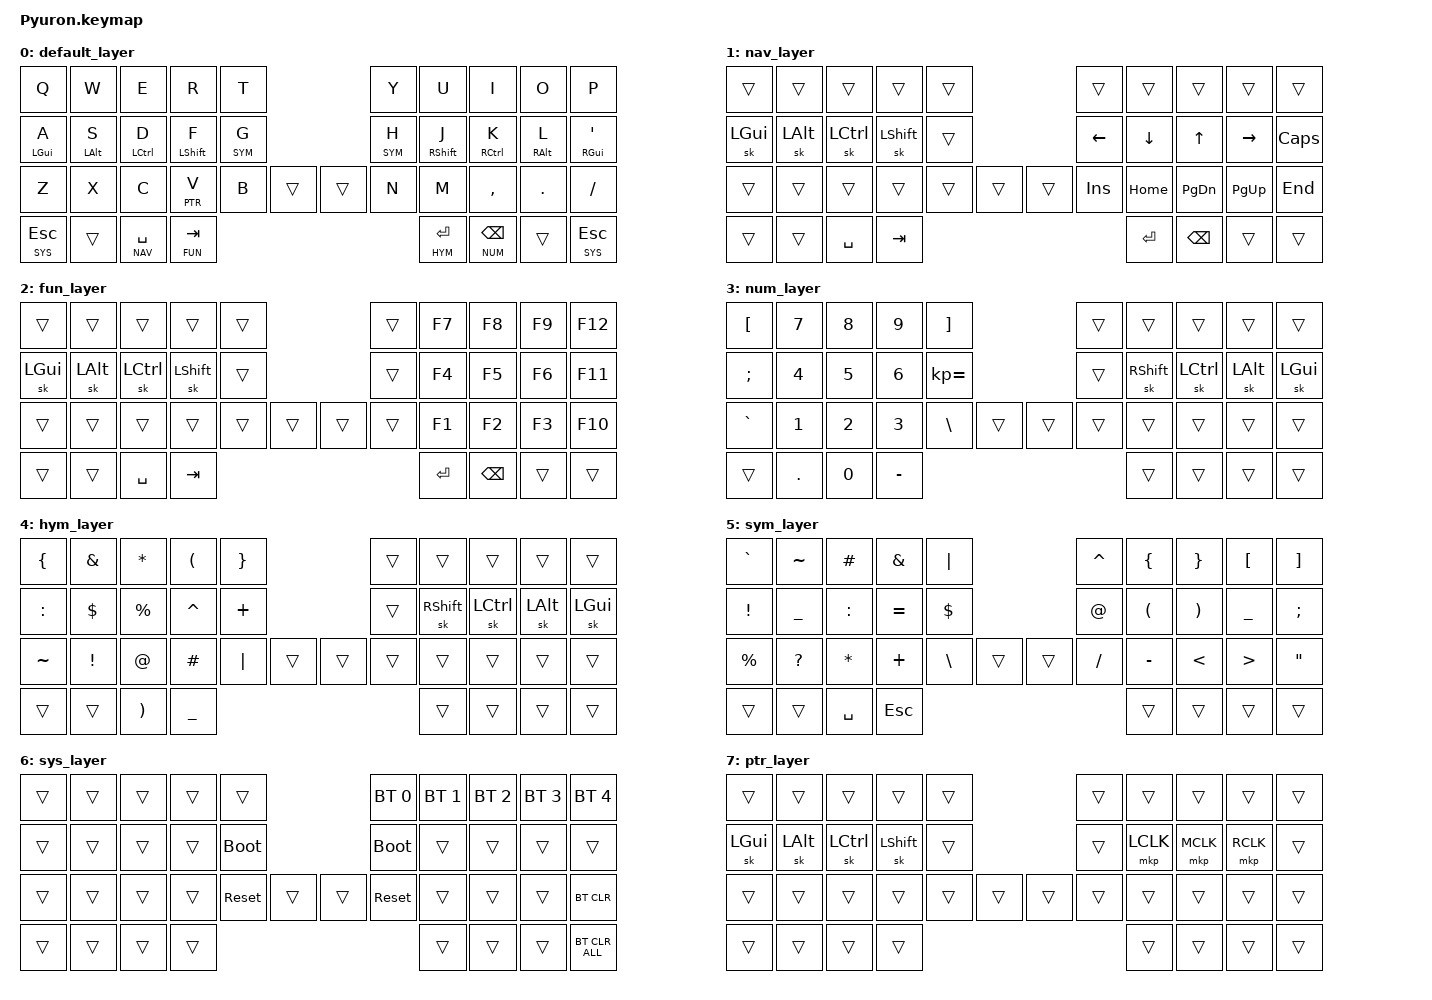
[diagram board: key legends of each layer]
#include <behaviors.dtsi>
#include <dt-bindings/zmk/bt.h>
#include <dt-bindings/zmk/keys.h>
#include <dt-bindings/zmk/pointing.h>

#include "zmk-helpers/helper.h"

#define DEF 0
#define NAV 1
#define FUN 2
#define NUM 3
#define HYM 4
#define SYM 5
#define SYS 6
#define PTR 7

#define XXX &none
#define ___ &trans


/*                                                 PYURON

  ╭────────────────────────┬────────────────────────╮ ╭─────────────────────────┬─────────────────────────╮
  │  0   1   2   3   4     │      5   6   7   8   9 │ │ LT4 LT3 LT2 LT1 LT0     │     RT0 RT1 RT2 RT3 RT4 │
  │ 10  11  12  13  14     │     15  16  17  18  19 │ │ LM4 LM3 LM2 LM1 LM0     │     RM0 RM1 RM2 RM3 RM4 │
  │ 20  21  22  23  24  25 │ 26  27  28  29  30  31 │ │ LB5 LB4 LB3 LB2 LB1 LB0 │ RB0 RB1 RB2 RB3 RB4 RB5 │
  │ 32  33          34  35 │ 36  37          38  39 │ │ LH3 LH2         LH1 LH0 │ RH0 RH1         RH2 RH3 │
  ╰────────────────────────┴────────────────────────╯ ╰─────────────────────────┴─────────────────────────╯ */

#pragma once

#define LT0  4  // left-top row
#define LT1  3
#define LT2  2
#define LT3  1
#define LT4  0

#define RT0  5  // right-top row
#define RT1  6
#define RT2  7
#define RT3  8
#define RT4  9

#define LM0 14  // left-middle row
#define LM1 13
#define LM2 12
#define LM3 11
#define LM4 10

#define RM0 15  // right-middle row
#define RM1 16
#define RM2 17
#define RM3 18
#define RM4 19

#define LB0 25  // left-bottom row
#define LB1 24
#define LB2 23
#define LB3 22
#define LB4 21
#define LB5 20

#define RB0 26  // right-bottom row
#define RB1 27
#define RB2 28
#define RB3 29
#define RB4 30
#define RB5 31

#define LH0 35  // left thumb keys
#define LH1 34
#define LH2 33
#define LH3 32

#define RH0 36  // right thumb keys
#define RH1 37
#define RH2 38
#define RH3 39

#define KEYS_L LT0 LT1 LT2 LT3 LT4 LM0 LM1 LM2 LM3 LM4 LB0 LB1 LB2 LB3 LB4 LB5 // left hand
#define KEYS_R RT0 RT1 RT2 RT3 RT4 RM0 RM1 RM2 RM3 RM4 RB0 RB1 RB2 RB3 RB4 RB5 // right hand
#define THUMBS LH3 LH2 LH1 LH0 RH0 RH1 RH2 RH3                                 // thumbs

/* Timeless homerow mods */

/* Left-hand HRMs. */
ZMK_HOLD_TAP(hml,
    flavor = "balanced";
    tapping-term-ms = <280>;
    quick-tap-ms = <175>;
    require-prior-idle-ms = <100>;
    bindings = <&kp>, <&kp>;
    hold-trigger-key-positions = <KEYS_R THUMBS>;
    hold-trigger-on-release;
)

/* Right-hand HRMs. */
ZMK_HOLD_TAP(hmr,
    flavor = "balanced";
    tapping-term-ms = <280>;
    quick-tap-ms = <175>;
    require-prior-idle-ms = <100>;
    bindings = <&kp>, <&kp>;
    hold-trigger-key-positions = <KEYS_L THUMBS>;
    hold-trigger-on-release;
)

/* Custom behaviors */

// combos
ZMK_COMBO(word_del,  &kp LC(BSPC),  RT2 RT3, DEF)
ZMK_COMBO(caps_wrd,  &caps_word  ,  LT2 RT2, DEF)
ZMK_COMBO(esc_we  ,  &kp ESC     ,  LT3 LT2, DEF)


/* Keymap */

ZMK_LAYER(default_layer,
//╭─────────────┬─────────────┬─────────────┬─────────────┬─────────────╮                                    ╭─────────────┬─────────────┬─────────────┬─────────────┬─────────────╮
    &kp Q         &kp W         &kp E         &kp R         &kp T                                              &kp Y         &kp U         &kp I         &kp O         &kp P
//├─────────────┼─────────────┼─────────────┼─────────────┼─────────────╮                                    ├─────────────┼─────────────┼─────────────┼─────────────┼─────────────┤
    &hml LGUI A   &hml LALT S   &hml LCTRL D  &hml LSHFT F  &lt SYM G                                          &lt SYM H     &hmr RSHFT J  &hmr RCTRL K  &hmr RALT L   &hmr RGUI SQT
//├─────────────┼─────────────┼─────────────┼─────────────┼─────────────┼─────────────╮        ╭─────────────┬─────────────┼─────────────┼─────────────┼─────────────┼─────────────┤
    &kp Z         &kp X         &kp C         &lt PTR V     &kp B         ___                    ___           &kp N         &kp M         &kp COMMA     &kp DOT       &kp SLASH
//╰─────────────┼─────────────┴─────────────┴─────────────┼─────────────┼─────────────┤        ├─────────────┼─────────────┼─────────────┴─────────────┴─────────────┼─────────────┤
    &lt SYS ESC   ___                                       &lt NAV SPACE &lt FUN TAB           &lt HYM ENTER  &lt NUM BSPC                              ___           &lt SYS ESC
//╰─────────────┴─────────────╯                           ╰─────────────┴─────────────╯        ╰─────────────┴─────────────╯                           ╰─────────────┴─────────────╯
)


ZMK_LAYER(nav_layer,
//╭─────────────┬─────────────┬─────────────┬─────────────┬─────────────╮                                    ╭─────────────┬─────────────┬─────────────┬─────────────┬─────────────╮
    ___           ___           ___           ___           ___                                                ___           ___           ___           ___           ___
//├─────────────┼─────────────┼─────────────┼─────────────┼─────────────╮                                    ├─────────────┼─────────────┼─────────────┼─────────────┼─────────────┤
    &sk LGUI      &sk LALT      &sk LCTRL     &sk LSHFT     ___                                                &kp LEFT      &kp DOWN      &kp UP        &kp RIGHT     &kp CLCK
//├─────────────┼─────────────┼─────────────┼─────────────┼─────────────┼─────────────╮        ╭─────────────┬─────────────┼─────────────┼─────────────┼─────────────┼─────────────┤
    ___           ___           ___           ___           ___           ___                    ___           &kp INS       &kp HOME      &kp PG_DN     &kp PG_UP     &kp END
//╰─────────────┼─────────────┴─────────────┴─────────────┼─────────────┼─────────────┤        ├─────────────┼─────────────┼─────────────┴─────────────┴─────────────┼─────────────┤
    ___           ___                                       &kp SPACE     &kp TAB                &kp ENTER     &kp BSPC                                  ___           ___
//╰─────────────┴─────────────╯                           ╰─────────────┴─────────────╯        ╰─────────────┴─────────────╯                           ╰─────────────┴─────────────╯
)

ZMK_LAYER(fun_layer,
//╭─────────────┬─────────────┬─────────────┬─────────────┬─────────────╮                                    ╭─────────────┬─────────────┬─────────────┬─────────────┬─────────────╮
    ___           ___           ___           ___           ___                                                ___           &kp F7        &kp F8        &kp F9        &kp F12
//├─────────────┼─────────────┼─────────────┼─────────────┼─────────────╮                                    ├─────────────┼─────────────┼─────────────┼─────────────┼─────────────┤
    &sk LGUI      &sk LALT      &sk LCTRL     &sk LSHFT     ___                                                ___           &kp F4        &kp F5        &kp F6        &kp F11
//├─────────────┼─────────────┼─────────────┼─────────────┼─────────────┼─────────────╮        ╭─────────────┬─────────────┼─────────────┼─────────────┼─────────────┼─────────────┤
    ___           ___           ___           ___           ___           ___                    ___           ___           &kp F1        &kp F2        &kp F3        &kp F10
//╰─────────────┼─────────────┴─────────────┴─────────────┼─────────────┼─────────────┤        ├─────────────┼─────────────┼─────────────┴─────────────┴─────────────┼─────────────┤
    ___           ___                                       &kp SPACE     &kp TAB                &kp ENTER     &kp BSPC                                  ___           ___
//╰─────────────┴─────────────╯                           ╰─────────────┴─────────────╯        ╰─────────────┴─────────────╯                           ╰─────────────┴─────────────╯
)


ZMK_LAYER(num_layer,
//╭─────────────┬─────────────┬─────────────┬─────────────┬─────────────╮                                    ╭─────────────┬─────────────┬─────────────┬─────────────┬─────────────╮
    &kp LBKT      &kp N7        &kp N8        &kp N9        &kp RBKT                                           ___           ___           ___           ___           ___
//├─────────────┼─────────────┼─────────────┼─────────────┼─────────────╮                                    ├─────────────┼─────────────┼─────────────┼─────────────┼─────────────┤
    &kp SEMI      &kp N4        &kp N5        &kp N6        &kp KP_EQUAL                                       ___           &sk RSHFT     &sk LCTRL     &sk LALT      &sk LGUI
//├─────────────┼─────────────┼─────────────┼─────────────┼─────────────┼─────────────╮        ╭─────────────┬─────────────┼─────────────┼─────────────┼─────────────┼─────────────┤
    &kp GRAVE     &kp N1        &kp N2        &kp N3        &kp BSLH      ___                    ___           ___           ___           ___           ___           ___
//╰─────────────┼─────────────┴─────────────┴─────────────┼─────────────┼─────────────┤        ├─────────────┼─────────────┼─────────────┴─────────────┴─────────────┼─────────────┤
    ___           &kp DOT                                   &kp N0        &kp MINUS              ___           ___                                       ___           ___
//╰─────────────┴─────────────╯                           ╰─────────────┴─────────────╯        ╰─────────────┴─────────────╯                           ╰─────────────┴─────────────╯
)


ZMK_LAYER(hym_layer,
//╭─────────────┬─────────────┬─────────────┬─────────────┬─────────────╮                                    ╭─────────────┬─────────────┬─────────────┬─────────────┬─────────────╮
    &kp LBRC      &kp AMPS      &kp ASTRK     &kp LPAR      &kp RBRC                                           ___           ___           ___           ___           ___
//├─────────────┼─────────────┼─────────────┼─────────────┼─────────────╮                                    ├─────────────┼─────────────┼─────────────┼─────────────┼─────────────┤
    &kp COLON     &kp DLLR      &kp PRCNT     &kp CARET     &kp PLUS                                           ___           &sk RSHFT     &sk LCTRL     &sk LALT      &sk LGUI
//├─────────────┼─────────────┼─────────────┼─────────────┼─────────────┼─────────────╮        ╭─────────────┬─────────────┼─────────────┼─────────────┼─────────────┼─────────────┤
    &kp TILDE     &kp EXCL      &kp AT        &kp HASH      &kp PIPE      ___                    ___           ___           ___           ___           ___           ___
//╰─────────────┼─────────────┴─────────────┴─────────────┼─────────────┼─────────────┤        ├─────────────┼─────────────┼─────────────┴─────────────┴─────────────┼─────────────┤
    ___           ___                                       &kp RPAR      &kp UNDER              ___           ___                                       ___           ___
//╰─────────────┴─────────────╯                           ╰─────────────┴─────────────╯        ╰─────────────┴─────────────╯                           ╰─────────────┴─────────────╯
)


ZMK_LAYER(sym_layer,
//╭─────────────┬─────────────┬─────────────┬─────────────┬─────────────╮                                    ╭─────────────┬─────────────┬─────────────┬─────────────┬─────────────╮
    &kp GRAVE     &kp TILDE     &kp HASH      &kp AMPS      &kp PIPE                                           &kp CARET     &kp LBRC      &kp RBRC      &kp LBKT      &kp RBKT
//├─────────────┼─────────────┼─────────────┼─────────────┼─────────────╮                                    ├─────────────┼─────────────┼─────────────┼─────────────┼─────────────┤
    &kp EXCL      &kp UNDER     &kp COLON     &kp EQUAL     &kp DLLR                                           &kp AT        &kp LPAR      &kp RPAR      &kp UNDER     &kp SEMI
//├─────────────┼─────────────┼─────────────┼─────────────┼─────────────┼─────────────╮        ╭─────────────┬─────────────┼─────────────┼─────────────┼─────────────┼─────────────┤
    &kp PRCNT     &kp QMARK     &kp ASTRK     &kp PLUS      &kp BSLH      ___                    ___           &kp FSLH      &kp MINUS     &kp LT        &kp GT        &kp DQT
//╰─────────────┼─────────────┴─────────────┴─────────────┼─────────────┼─────────────┤        ├─────────────┼─────────────┼─────────────┴─────────────┴─────────────┼─────────────┤
    ___           ___                                       &kp SPACE     &kp ESC                ___           ___                                       ___           ___
//╰─────────────┴─────────────╯                           ╰─────────────┴─────────────╯        ╰─────────────┴─────────────╯                           ╰─────────────┴─────────────╯
)


ZMK_LAYER(sys_layer,
//╭─────────────┬─────────────┬─────────────┬─────────────┬─────────────╮                                    ╭─────────────┬─────────────┬─────────────┬─────────────┬─────────────╮
    ___           ___           ___           ___           ___                                                &bt BT_SEL 0  &bt BT_SEL 1  &bt BT_SEL 2  &bt BT_SEL 3  &bt BT_SEL 4
//├─────────────┼─────────────┼─────────────┼─────────────┼─────────────╮                                    ├─────────────┼─────────────┼─────────────┼─────────────┼─────────────┤
    ___           ___           ___           ___           &bootloader                                        &bootloader   ___           ___           ___           ___
//├─────────────┼─────────────┼─────────────┼─────────────┼─────────────┼─────────────╮        ╭─────────────┬─────────────┼─────────────┼─────────────┼─────────────┼─────────────┤
    ___           ___           ___           ___           &sys_reset    ___                    ___           &sys_reset    ___           ___           ___           &bt BT_CLR
//╰─────────────┼─────────────┴─────────────┴─────────────┼─────────────┼─────────────┤        ├─────────────┼─────────────┼─────────────┴─────────────┴─────────────┼─────────────┤
    ___           ___                                       ___           ___                    ___           ___                                       ___           &bt BT_CLR_ALL
//╰─────────────┴─────────────╯                           ╰─────────────┴─────────────╯        ╰─────────────┴─────────────╯                           ╰─────────────┴─────────────╯
)

ZMK_LAYER(ptr_layer,
//╭─────────────┬─────────────┬─────────────┬─────────────┬─────────────╮                                    ╭─────────────┬─────────────┬─────────────┬─────────────┬─────────────╮
    ___           ___           ___           ___           ___                                                ___           ___           ___           ___           ___
//├─────────────┼─────────────┼─────────────┼─────────────┼─────────────╮                                    ├─────────────┼─────────────┼─────────────┼─────────────┼─────────────┤
    &sk LGUI      &sk LALT      &sk LCTRL     &sk LSHFT     ___                                                ___           &mkp LCLK     &mkp MCLK     &mkp RCLK     ___
//├─────────────┼─────────────┼─────────────┼─────────────┼─────────────┼─────────────╮        ╭─────────────┬─────────────┼─────────────┼─────────────┼─────────────┼─────────────┤
    ___           ___           ___           ___           ___           ___                    ___           ___           ___           ___           ___           ___
//╰─────────────┼─────────────┴─────────────┴─────────────┼─────────────┼─────────────┤        ├─────────────┼─────────────┼─────────────┴─────────────┴─────────────┼─────────────┤
    ___           ___                                       ___           ___                    ___           ___                                       ___           ___
//╰─────────────┴─────────────╯                           ╰─────────────┴─────────────╯        ╰─────────────┴─────────────╯                           ╰─────────────┴─────────────╯
)

